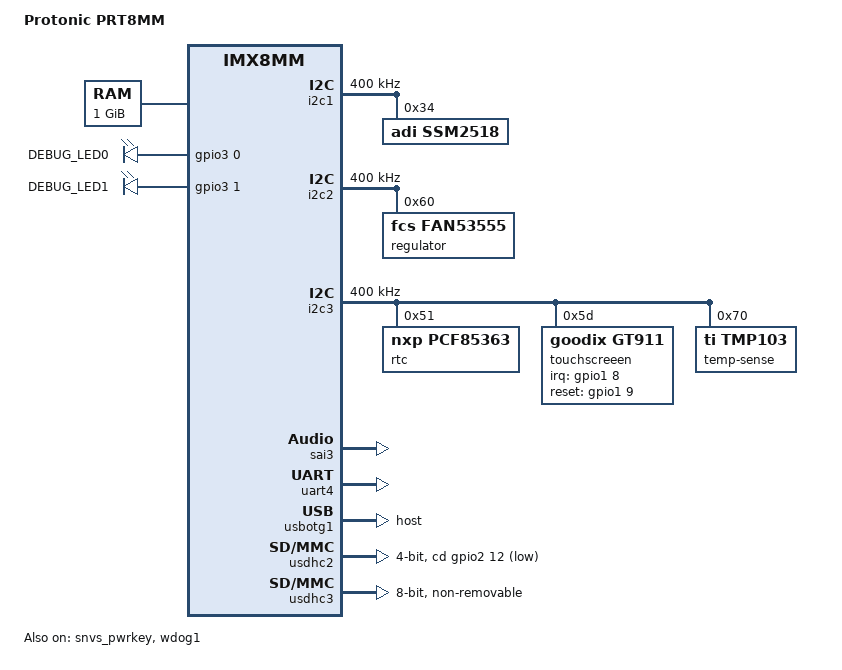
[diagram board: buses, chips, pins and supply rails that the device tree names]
// SPDX-License-Identifier: (GPL-2.0+ OR MIT)
/*
 * Copyright 2020 Protonic Holland
 * Copyright 2019 NXP
 */

/dts-v1/;

#include <dt-bindings/usb/pd.h>
#include "imx8mm.dtsi"

/ {
	model = "Protonic PRT8MM";
	compatible = "prt,prt8mm", "fsl,imx8mm";

	chosen {
		stdout-path = &uart4;
	};

	memory@40000000 {
		device_type = "memory";
		reg = <0x0 0x40000000 0 0x40000000>;
	};

	leds {
		compatible = "gpio-leds";
		pinctrl-names = "default";
		pinctrl-0 = <&pinctrl_gpio_leds>;

		debug-led0 {
			label = "DEBUG_LED0";
			gpios = <&gpio3 0 GPIO_ACTIVE_HIGH>;
			linux,default-trigger = "heartbeat";
		};

		debug-led1 {
			label = "DEBUG_LED1";
			gpios = <&gpio3 1 GPIO_ACTIVE_HIGH>;
			linux,default-trigger = "cpu";
		};
	};

	sound-ssm2518 {
		compatible = "simple-audio-card";
		simple-audio-card,name = "ssm2518-audio";
		simple-audio-card,format = "i2s";
		simple-audio-card,frame-master = <&cpudai>;
		simple-audio-card,bitclock-master = <&cpudai>;

		cpudai: simple-audio-card,cpu {
			sound-dai = <&sai3>;
		};

		simple-audio-card,codec {
			sound-dai = <&ssm2518>;
			clocks = <&clk IMX8MM_CLK_SAI3_ROOT>;
		};
	};
};

&i2c1 {
	clock-frequency = <400000>;
	pinctrl-names = "default";
	pinctrl-0 = <&pinctrl_i2c1>;
	status = "okay";

	ssm2518: audio-codec@34 {
		compatible = "adi,ssm2518";
		reg = <0x34>;
		#sound-dai-cells = <0>;
	};
};

&i2c2 {
	clock-frequency = <400000>;
	pinctrl-names = "default";
	pinctrl-0 = <&pinctrl_i2c2>;
	status = "okay";

	regulator@60 {
		compatible = "fcs,fan53555";
		reg = <0x60>;
		regulator-name = "0V9_CORE";
		regulator-min-microvolt = <900000>;
		regulator-max-microvolt = <980000>;
		regulator-boot-on;
		regulator-always-on;
	};
};

&i2c3 {
	clock-frequency = <400000>;
	pinctrl-names = "default";
	pinctrl-0 = <&pinctrl_i2c3>;
	status = "okay";

	rtc@51 {
		compatible = "nxp,pcf85363";
		reg = <0x51>;
	};

	touchscreeen@5d {
		compatible = "goodix,gt911";
		reg = <0x5d>;
		pinctrl-names = "default";
		pinctrl-0 = <&pinctrl_touchscreen>;
		interrupt-parent = <&gpio1>;
		interrupts = <8 IRQ_TYPE_NONE>;
		irq-gpios = <&gpio1 8 GPIO_ACTIVE_HIGH>;
		reset-gpios = <&gpio1 9 GPIO_ACTIVE_HIGH>;
	};

	temp-sense@70 {
		compatible = "ti,tmp103";
		reg = <0x70>;
	};
};

&sai3 {
	pinctrl-names = "default";
	pinctrl-0 = <&pinctrl_sai3>;
	assigned-clocks = <&clk IMX8MM_CLK_SAI3>;
	assigned-clock-parents = <&clk IMX8MM_AUDIO_PLL1_OUT>;
	assigned-clock-rates = <12288000>;
	fsl,sai-mclk-direction-output;
	fsl,sai-asynchronous;
	status = "okay";
};

&snvs_pwrkey {
	status = "okay";
};

&uart4 {
	pinctrl-names = "default";
	pinctrl-0 = <&pinctrl_uart4>;
	status = "okay";
};

&usbotg1 {
	pinctrl-names = "default";
	pinctrl-0 = <&pinctrl_usbotg1>;
	dr_mode = "host";
	disable-over-current;
	power-active-high;
	status = "okay";
};

&usdhc2 {
	pinctrl-names = "default";
	pinctrl-0 = <&pinctrl_usdhc2>;
	assigned-clocks = <&clk IMX8MM_CLK_USDHC2>;
	assigned-clock-rates = <100000000>;
	cd-gpios = <&gpio2 12 GPIO_ACTIVE_LOW>;
	bus-width = <4>;
	status = "okay";
};

&usdhc3 {
	pinctrl-names = "default", "state_100mhz", "state_200mhz";
	pinctrl-0 = <&pinctrl_usdhc3>;
	pinctrl-1 = <&pinctrl_usdhc3_100mhz>;
	pinctrl-2 = <&pinctrl_usdhc3_200mhz>;
	assigned-clocks = <&clk IMX8MM_CLK_USDHC3_ROOT>;
	assigned-clock-rates = <400000000>;
	bus-width = <8>;
	non-removable;
	no-sdio;
	no-sd;
	status = "okay";
};

&wdog1 {
	pinctrl-names = "default";
	pinctrl-0 = <&pinctrl_wdog>;
	fsl,ext-reset-output;
	status = "okay";
};

&iomuxc {
	pinctrl_gpio_leds: ledsgrp {
		fsl,pins = <
			MX8MM_IOMUXC_NAND_ALE_GPIO3_IO0			0x00
			MX8MM_IOMUXC_NAND_CE0_B_GPIO3_IO1		0x00
		>;
	};

	pinctrl_i2c1: i2c1grp {
		fsl,pins = <
			MX8MM_IOMUXC_I2C1_SCL_I2C1_SCL			0x400000c3
			MX8MM_IOMUXC_I2C1_SDA_I2C1_SDA			0x400000c3
		>;
	};

	pinctrl_i2c2: i2c2grp {
		fsl,pins = <
			MX8MM_IOMUXC_I2C2_SCL_I2C2_SCL			0x400000c3
			MX8MM_IOMUXC_I2C2_SDA_I2C2_SDA			0x400000c3
		>;
	};

	pinctrl_i2c3: i2c3grp {
		fsl,pins = <
			MX8MM_IOMUXC_I2C3_SCL_I2C3_SCL			0x400000c3
			MX8MM_IOMUXC_I2C3_SDA_I2C3_SDA			0x400000c3
		>;
	};

	pinctrl_sai3: sai3grp {
		fsl,pins = <
			MX8MM_IOMUXC_SAI3_TXFS_SAI3_TX_SYNC		0xd6
			MX8MM_IOMUXC_SAI3_TXC_SAI3_TX_BCLK		0xd6
			MX8MM_IOMUXC_SAI3_MCLK_SAI3_MCLK		0xd6
			MX8MM_IOMUXC_SAI3_TXD_SAI3_TX_DATA0		0xd6
		>;
	};

	pinctrl_touchscreen: tsgrp {
		fsl,pins = <
			MX8MM_IOMUXC_GPIO1_IO08_GPIO1_IO8		0x80
			MX8MM_IOMUXC_GPIO1_IO09_GPIO1_IO9		0x80
		>;
	};

	pinctrl_uart4: uart4grp {
		fsl,pins = <
			MX8MM_IOMUXC_UART4_RXD_UART4_DCE_RX		0x040
			MX8MM_IOMUXC_UART4_TXD_UART4_DCE_TX		0x040
		>;
	};

	pinctrl_usbotg1: usbotg1grp {
		fsl,pins = <
			MX8MM_IOMUXC_GPIO1_IO12_USB1_OTG_PWR		0x000
			MX8MM_IOMUXC_GPIO1_IO13_USB1_OTG_OC		0x000
		>;
	};

	pinctrl_usdhc2: usdhc2grp {
		fsl,pins = <
			MX8MM_IOMUXC_SD2_CLK_USDHC2_CLK			0x190
			MX8MM_IOMUXC_SD2_CMD_USDHC2_CMD			0x1d0
			MX8MM_IOMUXC_SD2_DATA0_USDHC2_DATA0		0x1d0
			MX8MM_IOMUXC_SD2_DATA1_USDHC2_DATA1		0x1d0
			MX8MM_IOMUXC_SD2_DATA2_USDHC2_DATA2		0x1d0
			MX8MM_IOMUXC_SD2_DATA3_USDHC2_DATA3		0x1d0
			MX8MM_IOMUXC_SD2_CD_B_GPIO2_IO12		0x0d4
		>;
	};

	pinctrl_usdhc3: usdhc3grp {
		fsl,pins = <
			MX8MM_IOMUXC_NAND_WE_B_USDHC3_CLK		0x190
			MX8MM_IOMUXC_NAND_WP_B_USDHC3_CMD		0x1d0
			MX8MM_IOMUXC_NAND_DATA04_USDHC3_DATA0		0x1d0
			MX8MM_IOMUXC_NAND_DATA05_USDHC3_DATA1		0x1d0
			MX8MM_IOMUXC_NAND_DATA06_USDHC3_DATA2		0x1d0
			MX8MM_IOMUXC_NAND_DATA07_USDHC3_DATA3		0x1d0
			MX8MM_IOMUXC_NAND_RE_B_USDHC3_DATA4		0x1d0
			MX8MM_IOMUXC_NAND_CE2_B_USDHC3_DATA5		0x1d0
			MX8MM_IOMUXC_NAND_CE3_B_USDHC3_DATA6		0x1d0
			MX8MM_IOMUXC_NAND_CLE_USDHC3_DATA7		0x1d0
			MX8MM_IOMUXC_NAND_CE1_B_USDHC3_STROBE		0x190
		>;
	};

	pinctrl_usdhc3_100mhz: usdhc3-100mhzgrp {
		fsl,pins = <
			MX8MM_IOMUXC_NAND_WE_B_USDHC3_CLK		0x194
			MX8MM_IOMUXC_NAND_WP_B_USDHC3_CMD		0x1d4
			MX8MM_IOMUXC_NAND_DATA04_USDHC3_DATA0		0x1d4
			MX8MM_IOMUXC_NAND_DATA05_USDHC3_DATA1		0x1d4
			MX8MM_IOMUXC_NAND_DATA06_USDHC3_DATA2		0x1d4
			MX8MM_IOMUXC_NAND_DATA07_USDHC3_DATA3		0x1d4
			MX8MM_IOMUXC_NAND_RE_B_USDHC3_DATA4		0x1d4
			MX8MM_IOMUXC_NAND_CE2_B_USDHC3_DATA5		0x1d4
			MX8MM_IOMUXC_NAND_CE3_B_USDHC3_DATA6		0x1d4
			MX8MM_IOMUXC_NAND_CLE_USDHC3_DATA7		0x1d4
			MX8MM_IOMUXC_NAND_CE1_B_USDHC3_STROBE		0x194
		>;
	};

	pinctrl_usdhc3_200mhz: usdhc3-200mhzgrp {
		fsl,pins = <
			MX8MM_IOMUXC_NAND_WE_B_USDHC3_CLK		0x196
			MX8MM_IOMUXC_NAND_WP_B_USDHC3_CMD		0x1d6
			MX8MM_IOMUXC_NAND_DATA04_USDHC3_DATA0		0x1d6
			MX8MM_IOMUXC_NAND_DATA05_USDHC3_DATA1		0x1d6
			MX8MM_IOMUXC_NAND_DATA06_USDHC3_DATA2		0x1d6
			MX8MM_IOMUXC_NAND_DATA07_USDHC3_DATA3		0x1d6
			MX8MM_IOMUXC_NAND_RE_B_USDHC3_DATA4		0x1d6
			MX8MM_IOMUXC_NAND_CE2_B_USDHC3_DATA5		0x1d6
			MX8MM_IOMUXC_NAND_CE3_B_USDHC3_DATA6		0x1d6
			MX8MM_IOMUXC_NAND_CLE_USDHC3_DATA7		0x1d6
			MX8MM_IOMUXC_NAND_CE1_B_USDHC3_STROBE		0x196
		>;
	};

	pinctrl_wdog: wdoggrp {
		fsl,pins = <
			MX8MM_IOMUXC_GPIO1_IO02_WDOG1_WDOG_B		0xc6
		>;
	};
};
